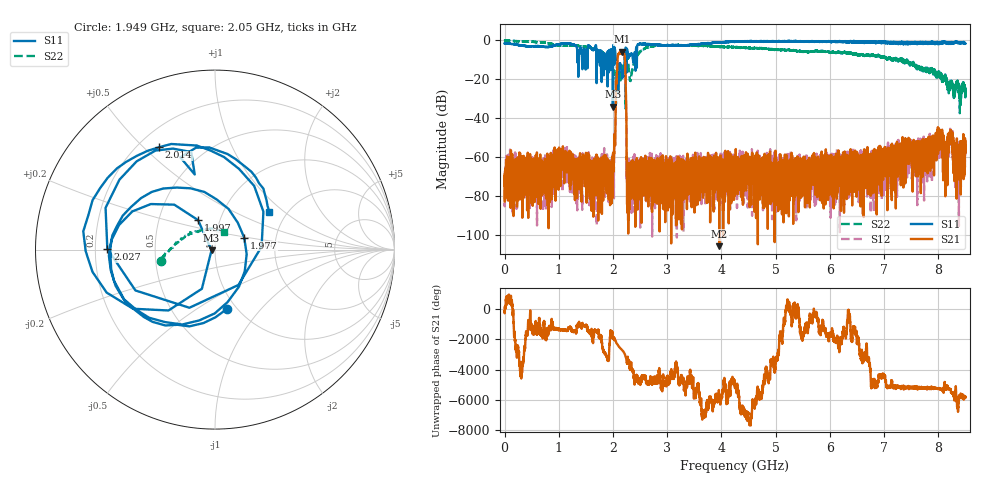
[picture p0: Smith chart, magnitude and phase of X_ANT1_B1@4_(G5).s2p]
#  HZ  S  RI  R  50.00
! Rohde & Schwarz Vector Network Analyzer
! Rohde-Schwarz,ZNBT8-20Port,1318700624101681,3.50
! Created: UTC 7/15/2025, 2:09:23 PM
! freq[Hz]  re:S1010  im:S1010  re:S0410  im:S0410  re:S1004  im:S1004  re:S44  im:S44
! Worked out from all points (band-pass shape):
!   8500 points, 1 MHz to 8.5 GHz, reference 50 ohm
!   highest |S21| = -5.87 dB at 2.169 GHz (marker M1); lowest = -105.7 dB at 3.96 GHz (marker M2)
!   |S21| within 3 dB of the highest: 2.086 GHz to 2.218 GHz (131.8 MHz wide, 6.13 % of centre)
!   lowest |S11| = -34.1 dB at 1.998 GHz (marker M3), VSWR 1.04, Z = 48.1 - j0.366 ohm
!   |S11| at or under -10 dB: 1.856 GHz to 1.87 GHz (13.32 MHz wide, 0.715 % of centre); 2.06 GHz to 2.212 GHz (152 MHz wide, 7.12 % of centre); 2.369 GHz to 2.383 GHz (14.66 MHz wide, 0.617 % of centre)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
!   |S22| runs from -37.4 to -0.1 dB; largest |S21 - S12| = 0.018
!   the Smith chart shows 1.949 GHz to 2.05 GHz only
!   S11 on the Smith chart (normalised r, x): 1.949 GHz: 0.91, -0.68; 1.977 GHz: 1.37, +0.19; 1.997 GHz: 0.79, +0.27; 2.014 GHz: 0.28, +0.56; 2.027 GHz: 0.25, +0.00; 2.05 GHz: 1.63, +0.79
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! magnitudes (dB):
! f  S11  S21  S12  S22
! 1 MHz  -1.7  -72.8  -70.4  -0.2
! 1.418 GHz  -5.2  -65.1  -66.6  -3.1
! 1.949 GHz  -9.5  -66.4  -64.8  -10.3
! 1.977 GHz  -15.1  -66.8  -78.9  -11.8
! 1.997 GHz  -14.5  -65.9  -66.1  -13.3
! 1.998 GHz  -34.1  -65.9  -65.4  -13.6
! 2.014 GHz  -3.7  -63.3  -76.3  -14.9
! 2.027 GHz  -4.4  -48.8  -47.7  -16.6
! 2.05 GHz  -8.7  -33.1  -33.0  -19.3
! 2.094 GHz  -23.8  -7.4  -7.3  -13.1
! 2.169 GHz  -19.3  -5.9  -6.1  -13.3
! 2.206 GHz  -13.8  -6.8  -6.7  -14.4
! 2.294 GHz  -8.4  -67.3  -62.3  -15.5
! 2.834 GHz  -2.4  -72.3  -63.3  -2.8
! 3.96 GHz  -1.1  -105.7  -67.5  -3.3
! 4.251 GHz  -0.8  -77.0  -64.6  -3.6
! 5.667 GHz  -0.4  -71.4  -70.2  -5.7
! 7.084 GHz  -0.9  -67.7  -60.5  -9.0
! 8.026 GHz  -1.6  -49.7  -51.7  -18.2
! 8.228 GHz  -1.8  -51.3  -51.0  -22.9
! 8.344 GHz  -0.9  -58.0  -57.1  -21.6
! 8.5 GHz  -1.8  -51.8  -54.1  -29.8
